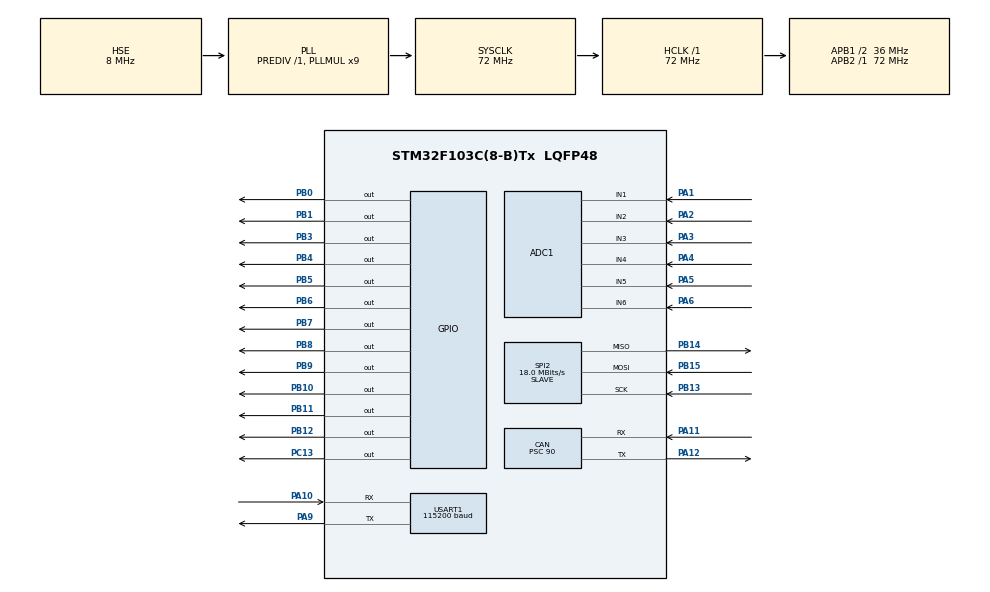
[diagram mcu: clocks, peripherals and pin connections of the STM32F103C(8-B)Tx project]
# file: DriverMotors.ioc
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Mcu.Family=STM32F1
PB10.PinState=GPIO_PIN_RESET
PB10.GPIO_Speed=GPIO_SPEED_FREQ_LOW
PB10.GPIO_PuPd=GPIO_PULLDOWN
SPI2.VirtualType=VM_SLAVE
ADC1.ContinuousConvMode=ENABLE
USART1.BaudRate=115200
SH.ADCx_IN2.0=ADC1_IN2,IN2
ADC1.SamplingTime-6\#ChannelRegularConversion=ADC_SAMPLETIME_71CYCLES_5
PB9.GPIO_ModeDefaultOutputPP=GPIO_MODE_OUTPUT_PP
PA11.Mode=Master
PB11.GPIO_PuPd=GPIO_PULLDOWN
PB11.Signal=GPIO_Output
PB13.Signal=SPI2_SCK
PB15.Signal=SPI2_MOSI
PB3.GPIO_Speed=GPIO_SPEED_FREQ_LOW
RCC.SYSCLKSource=RCC_SYSCLKSOURCE_PLLCLK
ProjectManager.StackSize=0x600
PD1-OSC_OUT.Signal=RCC_OSC_OUT
PB11.GPIO_Speed=GPIO_SPEED_FREQ_LOW
PB10.GPIO_ModeDefaultOutputPP=GPIO_MODE_OUTPUT_PP
PA12.Signal=CAN_TX
NVIC.USB_HP_CAN1_TX_IRQn=true\:0\:0\:false\:false\:true\:true\:true
CAN.Prescaler=90
ADC1.Channel-5\#ChannelRegularConversion=ADC_CHANNEL_5
PB0.PinState=GPIO_PIN_RESET
PB3.PinState=GPIO_PIN_RESET
ADC1.Channel-3\#ChannelRegularConversion=ADC_CHANNEL_3
PB1.GPIO_PuPd=GPIO_PULLDOWN
RCC.HCLKFreq_Value=72000000
SH.ADCx_IN3.0=ADC1_IN3,IN3
RCC.APB2TimFreq_Value=72000000
TIM3.Period=999
PB6.Signal=GPIO_Output
Dma.ADC1.0.Direction=DMA_PERIPH_TO_MEMORY
ADC1.Channel-2\#ChannelRegularConversion=ADC_CHANNEL_2
PB5.PinState=GPIO_PIN_RESET
Dma.ADC1.0.MemDataAlignment=DMA_MDATAALIGN_HALFWORD
RCC.AHBFreq_Value=72000000
RCC.PLLMUL=RCC_PLL_MUL9
ADC1.SamplingTime-4\#ChannelRegularConversion=ADC_SAMPLETIME_71CYCLES_5
ADC1.Channel-6\#ChannelRegularConversion=ADC_CHANNEL_6
PB3.GPIO_PuPd=GPIO_PULLDOWN
ADC1.Rank-2\#ChannelRegularConversion=2
PC14-OSC32_IN.Mode=LSE-External-Oscillator
PB1.GPIO_Speed=GPIO_SPEED_FREQ_LOW
PA14.Mode=Serial_Wire
PB14.Mode=Full_Duplex_Slave
TIM3.Prescaler=71
Dma.ADC1.0.PeriphInc=DMA_PINC_DISABLE
NVIC.TIM2_IRQn=true\:0\:0\:false\:false\:true\:true\:true
PB8.PinState=GPIO_PIN_RESET
SPI2.CalculateBaudRate=18.0 MBits/s
PB7.Signal=GPIO_Output
NVIC.SPI2_IRQn=true\:0\:0\:false\:false\:true\:true\:true
CAN.CalculateTimeQuantum=2500.0
PB7.PinState=GPIO_PIN_RESET
PB1.PinState=GPIO_PIN_RESET
Mcu.Package=LQFP48
PB9.Signal=GPIO_Output
TIM2.Prescaler=71
PB1.Signal=GPIO_Output
PA6.Signal=ADCx_IN6
SPI2.Mode=SPI_MODE_SLAVE
PC13-TAMPER-RTC.GPIO_PuPd=GPIO_PULLDOWN
PB6.GPIO_ModeDefaultOutputPP=GPIO_MODE_OUTPUT_PP
PA10.Signal=USART1_RX
PB9.GPIO_PuPd=GPIO_PULLDOWN
PB11.PinState=GPIO_PIN_RESET
PB8.GPIO_ModeDefaultOutputPP=GPIO_MODE_OUTPUT_PP
PB5.GPIO_Speed=GPIO_SPEED_FREQ_LOW
SH.ADCx_IN1.0=ADC1_IN1,IN1
PB9.GPIO_Speed=GPIO_SPEED_FREQ_LOW
RCC.APB1TimFreq_Value=72000000
PB0.GPIO_ModeDefaultOutputPP=GPIO_MODE_OUTPUT_PP
SPI2.Direction=SPI_DIRECTION_2LINES
PB13.Mode=Full_Duplex_Slave
NVIC.USART1_IRQn=true\:0\:0\:false\:false\:true\:true\:true
ADC1.Rank-6\#ChannelRegularConversion=6
Dma.Request0=ADC1
PB4.PinState=GPIO_PIN_RESET
VP_TIM3_VS_ClockSourceINT.Mode=Internal
ADC1.Rank-4\#ChannelRegularConversion=4
PB4.Signal=GPIO_Output
PB4.GPIO_ModeDefaultOutputPP=GPIO_MODE_OUTPUT_PP
PA3.Signal=ADCx_IN3
PB7.GPIO_Speed=GPIO_SPEED_FREQ_LOW
PB7.GPIO_PuPd=GPIO_PULLDOWN
RCC.PLLSourceVirtual=RCC_PLLSOURCE_HSE
PB5.GPIO_ModeDefaultOutputPP=GPIO_MODE_OUTPUT_PP
PC15-OSC32_OUT.Mode=LSE-External-Oscillator
Dma.ADC1.0.Instance=DMA1_Channel1
PD1-OSC_OUT.Mode=HSE-External-Oscillator
ADC1.Channel-4\#ChannelRegularConversion=ADC_CHANNEL_4
PA10.Mode=Asynchronous
SH.ADCx_IN6.0=ADC1_IN6,IN6
PB6.GPIO_PuPd=GPIO_PULLDOWN
PB8.GPIO_PuPd=GPIO_PULLDOWN
PC13-TAMPER-RTC.Signal=GPIO_Output
PD0-OSC_IN.Signal=RCC_OSC_IN
RCC.APB1CLKDivider=RCC_HCLK_DIV2
PC14-OSC32_IN.Signal=RCC_OSC32_IN
CAN.CalculateTimeBit=40000
ADC1.SamplingTime-2\#ChannelRegularConversion=ADC_SAMPLETIME_71CYCLES_5
PB0.GPIO_Speed=GPIO_SPEED_FREQ_LOW
RCC.ADCPresc=RCC_ADCPCLK2_DIV6
PA13.Signal=SYS_JTMS-SWDIO
Dma.ADC1.0.PeriphDataAlignment=DMA_PDATAALIGN_HALFWORD
PA9.Mode=Asynchronous
CAN.BS2=CAN_BS2_2TQ
CAN.BS1=CAN_BS1_13TQ
ProjectManager.TargetToolchain=EWARM V8
Dma.ADC1.0.Mode=DMA_CIRCULAR
Dma.ADC1.0.Priority=DMA_PRIORITY_MEDIUM
PA9.Signal=USART1_TX
ADC1.Channel-1\#ChannelRegularConversion=ADC_CHANNEL_1
PB4.GPIO_PuPd=GPIO_PULLDOWN
RCC.USBFreq_Value=72000000
CAN.Mode=CAN_MODE_NORMAL
PC15-OSC32_OUT.Signal=RCC_OSC32_OUT
PA1.Signal=ADCx_IN1
PB11.GPIO_ModeDefaultOutputPP=GPIO_MODE_OUTPUT_PP
PD0-OSC_IN.Mode=HSE-External-Oscillator
PB10.Signal=GPIO_Output
PB14.Signal=SPI2_MISO
PA5.Signal=ADCx_IN5
board=custom
PB15.Mode=Full_Duplex_Slave
NVIC.TIM3_IRQn=true\:0\:0\:false\:false\:true\:true\:true
PB4.GPIO_Speed=GPIO_SPEED_FREQ_LOW
RCC.APB2Freq_Value=72000000
VP_TIM2_VS_ClockSourceINT.Mode=Internal
PB7.GPIO_ModeDefaultOutputPP=GPIO_MODE_OUTPUT_PP
NVIC.USB_LP_CAN1_RX0_IRQn=true\:0\:0\:false\:false\:true\:true\:true
SH.ADCx_IN4.0=ADC1_IN4,IN4
TIM2.Period=9999
ADC1.NbrOfConversion=6
PA13.Mode=Serial_Wire
Mcu.Name=STM32F103C(8-B)Tx
PA2.Signal=ADCx_IN2
PB3.Signal=GPIO_Output
PA4.Signal=ADCx_IN4
ADC1.SamplingTime-1\#ChannelRegularConversion=ADC_SAMPLETIME_71CYCLES_5
RCC.SYSCLKFreq_VALUE=72000000
PB5.Signal=GPIO_Output
ADC1.master=1
PA12.Mode=Master
ADC1.Rank-3\#ChannelRegularConversion=3
ADC1.SamplingTime-3\#ChannelRegularConversion=ADC_SAMPLETIME_71CYCLES_5
PB5.GPIO_PuPd=GPIO_PULLDOWN
USART1.VirtualMode=VM_ASYNC
PB6.PinState=GPIO_PIN_RESET
PB9.PinState=GPIO_PIN_RESET
ADC1.Rank-1\#ChannelRegularConversion=1
PA11.Signal=CAN_RX
PA14.Signal=SYS_JTCK-SWCLK
Dma.ADC1.0.MemInc=DMA_MINC_ENABLE
ProjectManager.HeapSize=0x400
ADC1.SamplingTime-5\#ChannelRegularConversion=ADC_SAMPLETIME_71CYCLES_5
SH.ADCx_IN5.0=ADC1_IN5,IN5
NVIC.PriorityGroup=NVIC_PRIORITYGROUP_4
ADC1.NbrOfConversionFlag=1
PB8.Signal=GPIO_Output
NVIC.DMA1_Channel1_IRQn=true\:0\:0\:false\:false\:true\:false\:true
PB1.GPIO_ModeDefaultOutputPP=GPIO_MODE_OUTPUT_PP
PB6.GPIO_Speed=GPIO_SPEED_FREQ_LOW
PB12.GPIO_PuPd=GPIO_PULLDOWN
RCC.APB1Freq_Value=36000000
PB8.GPIO_Speed=GPIO_SPEED_FREQ_LOW
PB0.Signal=GPIO_Output
ADC1.Rank-5\#ChannelRegularConversion=5
PB12.Signal=GPIO_Output
PB0.GPIO_PuPd=GPIO_PULLDOWN
PB3.GPIO_ModeDefaultOutputPP=GPIO_MODE_OUTPUT_PP

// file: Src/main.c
/* USER CODE BEGIN Header */
/**
******************************************************************************
* @file           : main.c
* @brief          : Main program body
******************************************************************************
* @attention
*
* <h2><center>&copy; Copyright (c) 2019 STMicroelectronics.
* All rights reserved.</center></h2>
*
* This software component is licensed by ST under BSD 3-Clause license,
* the "License"; You may not use this file except in compliance with the
* License. You may obtain a copy of the License at:
*                        opensource.org/licenses/BSD-3-Clause
*
******************************************************************************
*/
/* USER CODE END Header */
#include "main.h"
#include "adc.h"
#include "can.h"
#include "dma.h"
#include "spi.h"
#include "tim.h"
#include "usart.h"
#include "gpio.h"

/* USER CODE BEGIN Includes */
#include "string.h"
#include "stdbool.h"
#include <stdio.h>
#include <stdlib.h>
/* USER CODE END Includes */

/* USER CODE BEGIN PTD */

/* Текущее состояние работы драйвера линейных двигателей. */
enum TypeWork {
  /* Режим инициализации. В данном режиме происходит
  расчет минимальных и максимальных положений кисти и пальцев протеза. */
  InitializationMode,

  /* Режим ожидания. Механические действия не исполняются. */
  SleepMode,

  /* Режим установки новых положений. */
  SettingPositionMode,

  /* Режим ошибки. Работа невозможна. */
  ErrorMode
};

/* Команды, которые протез может принимать по протоколу */
enum ProtocolCommand {
  /* Телеметрия устройства. Протез возвращает позиции пальцев. */
  Telemetry,

  /* Запрос установки позиций протеза. */
  SetPositions
};

/* Структура для работы с движущимися частями протеза (пальцами и кистью).
* Хранит информацию о расчетах энкордера и физическом подключении протеза.
*/
typedef struct {
  /* Текущая позиция пальца в угловом соотношении. */
  uint8_t Position;

  /* Ожидаемая позиция пальца в угловом соотношении. */
  uint8_t RequiredPosition;

  /* Минимальное значение потенциометра после колибровки. */
  uint16_t MinADCValue;

  /* Максимальное значение потенциометра после колибровки. */
  uint16_t MaxADCValue;

  /* Значение потенциометра. */
  uint16_t* ADCValue;

  /* Структура GPIO к которой подключен вывод мотора для движения вперед
  (Движение вперед - при подаче логической единицы на этот пин мотор будет
  разжимать палец). */
  GPIO_TypeDef* GPIO_MotorForward;

  /* Номер пина к которому подключен вывод мотора для движения вперед. */
  uint16_t GPIO_Motor_PinForward;

  /* Структура GPIO к которой подключен вывод мотора для движения назад
  (Движение назад - при подаче логической единицы на этот пин мотор будет
  сжимать палец). */
  GPIO_TypeDef* GPIO_MotorBackward;

  /* Номер пина к которому подключен вывод мотора для движения назад. */
  uint16_t GPIO_Motor_PinBackward;
} FingerStruct;

/* Позиции всех движущихся частей протеза.*/
typedef struct {
  enum TypeWork CurrentRegime;
  FingerStruct* PointerFinger;
  FingerStruct* MiddleFinger;
  FingerStruct* RingFinder;
  FingerStruct* LittleFinger;
  FingerStruct* ThumbFinger;
  FingerStruct* ThumbFingerFlexion;
} HandStruct;

typedef struct {
  enum ProtocolCommand Command;
  enum TypeWork CurrentRegime;
  uint8_t PointerFingerPosition;
  uint8_t MiddleFingerPosition;
  uint8_t RingFinderPosition;
  uint8_t LittleFingerPosition;
  uint8_t ThumbFingerPosition;
  uint8_t CRC8;
} ProtocolStruct;
/* USER CODE END PTD */

/* USER CODE BEGIN PV */
unsigned char CRC8_TABLE[] = {
  0, 94, 188, 226, 97, 63, 221, 131, 194, 156, 126, 32, 163, 253, 31, 65,
  157, 195, 33, 127, 252, 162, 64, 30, 95, 1, 227, 189, 62, 96, 130, 220,
  35, 125, 159, 193, 66, 28, 254, 160, 225, 191, 93, 3, 128, 222, 60, 98,
  190, 224, 2, 92, 223, 129, 99, 61, 124, 34, 192, 158, 29, 67, 161, 255,
  70, 24, 250, 164, 39, 121, 155, 197, 132, 218, 56, 102, 229, 187, 89, 7,
  219, 133, 103, 57, 186, 228, 6, 88, 25, 71, 165, 251, 120, 38, 196, 154,
  101, 59, 217, 135, 4, 90, 184, 230, 167, 249, 27, 69, 198, 152, 122, 36,
  248, 166, 68, 26, 153, 199, 37, 123, 58, 100, 134, 216, 91, 5, 231, 185,
  140, 210, 48, 110, 237, 179, 81, 15, 78, 16, 242, 172, 47, 113, 147, 205,
  17, 79, 173, 243, 112, 46, 204, 146, 211, 141, 111, 49, 178, 236, 14, 80,
  175, 241, 19, 77, 206, 144, 114, 44, 109, 51, 209, 143, 12, 82, 176, 238,
  50, 108, 142, 208, 83, 13, 239, 177, 240, 174, 76, 18, 145, 207, 45, 115,
  202, 148, 118, 40, 171, 245, 23, 73, 8, 86, 180, 234, 105, 55, 213, 139,
  87, 9, 235, 181, 54, 104, 138, 212, 149, 203, 41, 119, 244, 170, 72, 22,
  233, 183, 85, 11, 136, 214, 52, 106, 43, 117, 151, 201, 74, 20, 246, 168,
  116, 42, 200, 150, 21, 75, 169, 247, 182, 232, 10, 84, 215, 137, 107, 53
};

/* Основные переменные */

/* Основная конфигурация протеза для осуществления движений.
 * На ее основе работает вся прошивка МК. */
HandStruct* HandConfig;

/* CAN BUS PV Variables */
CAN_FilterTypeDef sFilterConfig;
CAN_TxHeaderTypeDef TxHeader;
CAN_RxHeaderTypeDef RxHeader;
uint8_t TxData[8];
uint8_t RxData[8];
uint32_t TxMailbox;

/* UART PV Variables */
uint32_t uartLastReceiveTimeMs;
uint8_t uartPositionProtocol;

/* ADC PV Variables */
volatile uint16_t ADC_Data[6];

/* UART data receive */
ProtocolStruct request;

/* USER CODE END PV */

void SystemClock_Config(void);

/* USER CODE BEGIN 0 */

/* Объявление функций. */

/**
* @brief Выполняет инициализацию конфигурации протеза.
* Устанавливает пины, к которым подключены моторы пальцев.
* @retval Структура, в которой содержится конфигурация протеза.
*/
HandStruct* Hand_Init();

/**
* @brief  Выполнение колибровки указанного пальца.
* @param  finger Структура, с набором характеристик пальца.
*/
void CalibrateFinger(FingerStruct* finger);

/**
* @brief Выполняет инициализацию конфигурации отдельного пальца. Выполняет
*       установку конфигурации пина в соотвесвтующие поля структуры.
* @param  motorForward Структура GPIO к которой подключен вывод мотора для движения вперед.
*       (Движение вперед - при подаче логической единицы на этот пин мотор будет разжимать палец).
* @param  pinForward Номер пина к которому подключен вывод мотора для движения вперед.
* @param  motorBackward Структура GPIO к которой подключен вывод мотора для движения назад.
*       (Движение назад - при подаче логической единицы на этот пин мотор будет сжимать палец).
* @param  pinBackward Номер пина к которому подключен вывод мотора для движения вперед.
* @param  ADCValue Указатель на значение АЦП.
* @retval Структура, в которой содержится конфигурация отдельного пальца.
*/
FingerStruct* Finger_Init(GPIO_TypeDef *motorForward, uint16_t pinForward, GPIO_TypeDef *motorBackward, uint16_t pinBackward, uint16_t* ADCValue);

/**
* @brief Выполняет инициализацию конфигурации отдельного пальца.
* @retval None
*/
void SendTelemetryByCAN();

/**
  * @brief  CRC8 calculate function
  * @param  data Pointer to data
  * @param  data length
  * @retval crc8
*/
unsigned char CalculateCRC8(unsigned char *data, unsigned int length);

/* Реализация функций. */

void SendTelemetryByCAN(HandStruct* handConfig)
{
  TxData[0] = handConfig->CurrentRegime;
  TxData[1] = handConfig->PointerFinger->Position;
  TxData[2] = handConfig->MiddleFinger->Position;
  TxData[3] = handConfig->RingFinder->Position;
  TxData[4] = handConfig->LittleFinger->Position;
  TxData[5] = handConfig->ThumbFinger->Position;
  HAL_CAN_AddTxMessage(&hcan, &TxHeader, TxData, &TxMailbox);
}

HandStruct* Hand_Init()
{
  HandStruct* newHandConfig = (HandStruct*)malloc(sizeof(HandStruct));
  memset(newHandConfig, 0, sizeof(HandStruct));

  // MOTOR 1
  newHandConfig->LittleFinger = Finger_Init(GPIOB, GPIO_PIN_10,
                                             GPIOB, GPIO_PIN_11, (uint16_t*)&ADC_Data[6]);
  // MOTOR 2
  newHandConfig->RingFinder = Finger_Init(GPIOB, GPIO_PIN_0,
                                             GPIOB, GPIO_PIN_1, (uint16_t*)&ADC_Data[5]);
  // MOTOR 3
  newHandConfig->MiddleFinger = Finger_Init(GPIOB, GPIO_PIN_3,
                                             GPIOB, GPIO_PIN_12, (uint16_t*)&ADC_Data[4]);
  // MOTOR 4
  newHandConfig->PointerFinger = Finger_Init(GPIOB, GPIO_PIN_5,
                                             GPIOB, GPIO_PIN_4, (uint16_t*)&ADC_Data[3]);
  // MOTOR 5
  newHandConfig->ThumbFinger = Finger_Init(GPIOB, GPIO_PIN_6,
                                             GPIOB, GPIO_PIN_7, (uint16_t*)&ADC_Data[2]);
  // MOTOR 6
  newHandConfig->ThumbFingerFlexion = Finger_Init(GPIOB, GPIO_PIN_8,
                                             GPIOB, GPIO_PIN_9, (uint16_t*)&ADC_Data[1]);

  return newHandConfig;
}

FingerStruct* Finger_Init(GPIO_TypeDef *motorForward, uint16_t pinForward, GPIO_TypeDef *motorBackward, uint16_t pinBackward, uint16_t* ADCValue)
{
  FingerStruct* configFinger = (FingerStruct*)malloc(sizeof(FingerStruct));
  memset(configFinger, 0, sizeof(FingerStruct));

  configFinger->GPIO_MotorForward = motorForward;
  configFinger->GPIO_Motor_PinForward = pinForward;
  configFinger->GPIO_MotorBackward = motorBackward;
  configFinger->GPIO_Motor_PinBackward = pinBackward;
  configFinger->ADCValue = ADCValue;

  return configFinger;
}

/**
* @brief  Остановка движения мотора.
*/
void Finger_Stop(FingerStruct* finger)
{
  HAL_GPIO_WritePin(finger->GPIO_MotorForward, finger->GPIO_Motor_PinForward, GPIO_PIN_RESET);
  HAL_GPIO_WritePin(finger->GPIO_MotorBackward, finger->GPIO_Motor_PinBackward, GPIO_PIN_RESET);
}

/**
* @brief  Движение мотора вперед (сжатие).
*/
void Finger_Forward(FingerStruct* finger)
{
  HAL_GPIO_WritePin(finger->GPIO_MotorForward, finger->GPIO_Motor_PinForward, GPIO_PIN_SET);
  HAL_GPIO_WritePin(finger->GPIO_MotorBackward, finger->GPIO_Motor_PinBackward, GPIO_PIN_RESET);
}

/**
* @brief  Движение мотора назад (разжатие).
*/
void Finger_Backward(FingerStruct* finger)
{
  HAL_GPIO_WritePin(finger->GPIO_MotorForward, finger->GPIO_Motor_PinForward, GPIO_PIN_RESET);
  HAL_GPIO_WritePin(finger->GPIO_MotorBackward, finger->GPIO_Motor_PinBackward, GPIO_PIN_SET);
}

/**
* @brief  Выполняет установку положения пальца в указанною позицию.
* @param  finger Структура, с набором характеристик пальца.
*/
void Set_Finger_Position(FingerStruct* finger)
{ //0 - разжато, 180 - сжато
  uint16_t angle = finger->RequiredPosition - finger->Position;
  uint16_t reqPosition = abs(angle) * ((finger->MaxADCValue - finger->MinADCValue) / 180);

  if (angle > 0) {
    //Сжать руку на angle градусов
    Finger_Forward(finger);
    while(true) {
      if (*finger->ADCValue <= reqPosition) {
        Finger_Stop(finger);

        break;
      }
    }
  } else {
    //Разжать руку на angle градусов
    Finger_Backward(finger);
    while(true) {
      if (*finger->ADCValue >= reqPosition) {
        Finger_Stop(finger);

        break;
      }
    }
  }

  finger->Position = finger->RequiredPosition;
}

/**
* @brief  Выполняет установку положения пальца в указанною позицию.
* @param  hand Структура, с набором характеристик руки.
*/
/*
void Set_Hand_Position(HandStruct* hand)
{
  uint16_t LittleFingerAngle = hand->LittleFinger->RequiredPosition - hand->LittleFinger->Position;
  uint16_t RingFinderAngle = hand->RingFinder->RequiredPosition - hand->RingFinder->Position;
  uint16_t MiddleFingerAngle = hand->MiddleFinger->RequiredPosition - hand->MiddleFinger->Position;
  uint16_t PointerFingerAngle = hand->PointerFinger->RequiredPosition - hand->PointerFinger->Position;
  uint16_t ThumbFingerFlexionAngle = hand->ThumbFingerFlexion->RequiredPosition - hand->ThumbFingerFlexion->Position;
  uint16_t ThumbFingerAngle = hand->ThumbFinger->RequiredPosition - hand->ThumbFinger->Position;

  uint16_t LittleFingerReqPosition = abs(LittleFingerAngle) * ((hand->LittleFinger->MaxADCValue - hand->LittleFinger->MinADCValue) / 180);
  uint16_t RingFinderReqPosition = abs(RingFinderAngle) * ((hand->RingFinder->MaxADCValue - hand->RingFinder->MinADCValue) / 180);
  uint16_t MiddleFingerReqPosition = abs(MiddleFingerAngle) * ((hand->MiddleFinger->MaxADCValue - hand->MiddleFinger->MinADCValue) / 180);
  uint16_t PointerFingerReqPosition = abs(PointerFingerAngle) * ((hand->PointerFinger->MaxADCValue - hand->PointerFinger->MinADCValue) / 180);
  uint16_t ThumbFingerFlexionReqPosition = abs(ThumbFingerFlexionAngle) * ((hand->ThumbFingerFlexion->MaxADCValue - hand->ThumbFingerFlexion->MinADCValue) / 180);
  uint16_t ThumbFingerReqPosition = abs(ThumbFingerAngle) * ((hand->ThumbFinger->MaxADCValue - hand->ThumbFinger->MinADCValue) / 180);

  bool LittleFingerSeted = false;
  bool RingFinderSeted = false;
  bool MiddleFingerSeted = false;
  bool PointerFingerSeted = false;
  bool ThumbFingerFlexionSeted = false;
  bool RequiredPositionSeted = false;

}
*/

/**
* @brief  Выполнение колибровки руки.
* @param  hand Структура, с набором характеристик руки.
*/
void Calibrate(HandStruct* hand)
{
  CalibrateFinger(hand->LittleFinger);
  CalibrateFinger(hand->RingFinder);
  CalibrateFinger(hand->MiddleFinger);

  uint16_t PointerFingerADCMaxPosition = *(hand->PointerFinger->ADCValue);
  uint16_t ThumbFingerADCMaxPosition = *(hand->ThumbFinger->ADCValue);
  uint16_t ThumbFingerFlexionADCMaxPosition = *(hand->ThumbFingerFlexion->ADCValue);

  uint16_t PointerFingerADCMinPosition;
  uint16_t ThumbFingerADCMinPosition;
  uint16_t ThumbFingerFlexionADCMinPosition;

  uint32_t receiveTimeMs = HAL_GetTick();

  Finger_Backward(hand->PointerFinger);
  Finger_Backward(hand->ThumbFinger);
  Finger_Backward(hand->ThumbFingerFlexion);

  bool PointerFingerCalibrated = false;
  bool ThumbFingerCalibrated = false;
  bool ThumbFingerFlexionCalibrated = false;

  uint8_t ConfirmPointerFinger = 100;
  uint8_t ConfirmThumbFinger = 100;
  uint8_t ConfirmThumbFingerFlexion = 100;

  //Установка максимальных значений при разжатии пальцев (значениея малы ~100-200)
  while(true) {
    uint32_t tmpTimeMs = HAL_GetTick();

    if (receiveTimeMs + 4000 < tmpTimeMs)
    {
      receiveTimeMs = tmpTimeMs;

      if (PointerFingerCalibrated && ThumbFingerFlexionCalibrated && ThumbFingerCalibrated) {
        break;
      }

      if (!PointerFingerCalibrated) {
        if (ConfirmPointerFinger < 1) {
          PointerFingerADCMaxPosition = *(hand->PointerFinger->ADCValue);
          Finger_Stop(hand->PointerFinger);
          PointerFingerCalibrated = true;
          ConfirmPointerFinger = 100;
        }

        if (*(hand->PointerFinger->ADCValue) + 150 < PointerFingerADCMaxPosition) {
          PointerFingerADCMaxPosition = *(hand->PointerFinger->ADCValue);
        } else {
          ConfirmPointerFinger--;
        }
      }

      if (!ThumbFingerCalibrated) {
        if (ConfirmThumbFinger < 1) {
          ThumbFingerADCMaxPosition = *(hand->ThumbFinger->ADCValue);
          Finger_Stop(hand->ThumbFinger);
          ThumbFingerCalibrated = true;
          ConfirmThumbFinger = 100;
        }

        if (*(hand->ThumbFinger->ADCValue) + 150 < ThumbFingerADCMaxPosition) {
          ThumbFingerADCMaxPosition = *(hand->ThumbFinger->ADCValue);
        } else {
          ConfirmThumbFinger--;
        }
      }

      if (!ThumbFingerFlexionCalibrated) {
        if (ConfirmThumbFingerFlexion < 1) {
          ThumbFingerFlexionADCMaxPosition = *(hand->ThumbFingerFlexion->ADCValue);
          Finger_Stop(hand->ThumbFingerFlexion);
          ThumbFingerFlexionCalibrated = true;
          ConfirmThumbFingerFlexion = 100;
        }

        if (*(hand->ThumbFingerFlexion->ADCValue) + 150 < ThumbFingerFlexionADCMaxPosition) {
          ThumbFingerFlexionADCMaxPosition = *(hand->ThumbFingerFlexion->ADCValue);
        } else {
          ConfirmThumbFingerFlexion--;
        }
      }
    }
  }

  PointerFingerADCMinPosition = PointerFingerADCMaxPosition;
  ThumbFingerADCMinPosition = ThumbFingerADCMaxPosition;
  ThumbFingerFlexionADCMinPosition = ThumbFingerFlexionADCMaxPosition;

  Finger_Forward(hand->ThumbFinger);

  while(true) {
    uint32_t tmpTimeMs = HAL_GetTick();

    if (receiveTimeMs + 4000 < tmpTimeMs)
    {
      receiveTimeMs = tmpTimeMs;

      if (ConfirmThumbFinger < 1) {
        ThumbFingerADCMinPosition = *(hand->ThumbFinger->ADCValue);
        Finger_Stop(hand->ThumbFinger);

        break;
      }

      if (*(hand->ThumbFinger->ADCValue) - 150 > ThumbFingerADCMinPosition) {
        ThumbFingerADCMinPosition = *(hand->ThumbFinger->ADCValue);
      } else {
        ConfirmThumbFinger--;
      }
    }
  }

  hand->ThumbFinger->MaxADCValue = ThumbFingerADCMaxPosition - 150;
  hand->ThumbFinger->MinADCValue = ThumbFingerADCMinPosition + 150;
  hand->ThumbFinger->Position = 180;
  hand->ThumbFinger->RequiredPosition = 0;
  Set_Finger_Position(hand->ThumbFinger);

  Finger_Forward(hand->ThumbFingerFlexion);

  while(true) {
    uint32_t tmpTimeMs = HAL_GetTick();

    if (receiveTimeMs + 4000 < tmpTimeMs)
    {
      receiveTimeMs = tmpTimeMs;

      if (ConfirmThumbFingerFlexion < 1) {
        ThumbFingerFlexionADCMinPosition = *(hand->ThumbFingerFlexion->ADCValue);
        Finger_Stop(hand->ThumbFingerFlexion);

        break;
      }

      if (*(hand->ThumbFingerFlexion->ADCValue) - 150 > ThumbFingerFlexionADCMinPosition) {
        ThumbFingerFlexionADCMinPosition = *(hand->ThumbFingerFlexion->ADCValue);
      } else {
        ConfirmThumbFingerFlexion--;
      }
    }
  }

  hand->ThumbFingerFlexion->MaxADCValue = ThumbFingerFlexionADCMaxPosition - 150;
  hand->ThumbFingerFlexion->MinADCValue = ThumbFingerFlexionADCMinPosition + 150;
  hand->ThumbFingerFlexion->Position = 180;
  hand->ThumbFingerFlexion->RequiredPosition = 0;
  Set_Finger_Position(hand->ThumbFingerFlexion);

  Finger_Forward(hand->PointerFinger);

  while(true) {
    uint32_t tmpTimeMs = HAL_GetTick();

    if (receiveTimeMs + 4000 < tmpTimeMs)
    {
      receiveTimeMs = tmpTimeMs;

      if (ConfirmPointerFinger < 1) {
        PointerFingerADCMinPosition = *(hand->PointerFinger->ADCValue);
        Finger_Stop(hand->PointerFinger);

        break;
      }

      if (*(hand->PointerFinger->ADCValue) - 150 > PointerFingerADCMinPosition) {
        PointerFingerADCMinPosition = *(hand->PointerFinger->ADCValue);
      } else {
        ConfirmPointerFinger--;
      }
    }
  }

  hand->PointerFinger->MaxADCValue = PointerFingerADCMaxPosition - 150;
  hand->PointerFinger->MinADCValue = PointerFingerADCMinPosition + 150;
  hand->PointerFinger->Position = 180;
  hand->PointerFinger->RequiredPosition = 180;
}

void CalibrateFinger(FingerStruct* finger)
{
  uint8_t Confirm = 100;
  uint16_t FingerADCMaxPosition = *(finger->ADCValue);  //Максимальное значение с потенциометра
  uint16_t FingerADCMinPosition;                        //Минимальное значение с потенциометра

  uint32_t receiveTimeMs = HAL_GetTick();

  Finger_Backward(finger);

  //Установка максимального значения при разжатии пальца (значение мало ~100-200)
  while(true) {
    uint32_t tmpTimeMs = HAL_GetTick();

    if (receiveTimeMs + 4000 < tmpTimeMs)
    {
      receiveTimeMs = tmpTimeMs;

      if (Confirm < 1) {
        FingerADCMaxPosition = *(finger->ADCValue);
        Finger_Stop(finger);
        Confirm = 100;

        break;
      }

      if (*(finger->ADCValue) + 150 < FingerADCMaxPosition) {
        FingerADCMaxPosition = *(finger->ADCValue);
      } else {
        Confirm--;
      }
    }
  }

  FingerADCMinPosition = FingerADCMaxPosition;
  Finger_Forward(finger);

  //Установка минимального значений при сжатии пальца (значение велико ~3700-4000)
  while(true) {
    uint32_t tmpTimeMs = HAL_GetTick();

    if (receiveTimeMs + 4000 < tmpTimeMs)
    {
      receiveTimeMs = tmpTimeMs;

      if (Confirm < 1) {
        FingerADCMinPosition = *(finger->ADCValue);
        Finger_Stop(finger);

        break;
      }

      if (*(finger->ADCValue) - 150 > FingerADCMinPosition) {
        FingerADCMinPosition = *(finger->ADCValue);
      } else {
        Confirm--;
      }
    }
  }

  finger->MaxADCValue = FingerADCMaxPosition - 150;
  finger->MinADCValue = FingerADCMinPosition + 150;

  finger->Position = 180;
  finger->RequiredPosition = 180;
}

/**
* @brief Выполняет необходимую программную иницилизацию CAN и
* переменных для работы с ней.
* @retval None
*/
void CAN_Init()
{
  sFilterConfig.FilterBank = 0;
  sFilterConfig.FilterMode = CAN_FILTERMODE_IDMASK;
  sFilterConfig.FilterScale = CAN_FILTERSCALE_32BIT;
  sFilterConfig.FilterIdHigh = 0X0000;
  sFilterConfig.FilterIdLow = 0x0000;
  sFilterConfig.FilterMaskIdHigh = 0x0000;
  sFilterConfig.FilterMaskIdLow = 0x0000;
  sFilterConfig.FilterFIFOAssignment = CAN_RX_FIFO0;
  sFilterConfig.FilterActivation = ENABLE;
  sFilterConfig.SlaveStartFilterBank = 14;

  if (HAL_CAN_ConfigFilter(&hcan, &sFilterConfig) != HAL_OK)
  {
    Error_Handler();
  }

  if (HAL_CAN_Start(&hcan) != HAL_OK)
  {
    Error_Handler();
  }

  if (HAL_CAN_ActivateNotification (&hcan, CAN_IT_RX_FIFO0_MSG_PENDING | CAN_IT_TX_MAILBOX_EMPTY) != HAL_OK)
  {
    Error_Handler();
  }

  TxHeader.StdId = 0x3E9;
  TxHeader.ExtId = 0x01;
  TxHeader.RTR = CAN_RTR_DATA;
  TxHeader.IDE = CAN_ID_STD;
  TxHeader.TransmitGlobalTime = DISABLE;
  TxHeader.DLC = 8;
  TxData[0] = 0;
  TxData[1] = 0;
  TxData[2] = 0;
  TxData[3] = 0;
  TxData[4] = 0;
  TxData[5] = 0;
  TxData[6] = 0;
  TxData[7] = 0;
}

unsigned char CalculateCRC8(unsigned char *data, unsigned int length)
{
  unsigned char result = 0;
  for (int i = 0; i < length; i++)
  {
    result = CRC8_TABLE[result ^ data[i]];
  }

  return result;
}
/* USER CODE END 0 */

int main(void)
{

  /* MCU Configuration--------------------------------------------------------*/

  /* Reset of all peripherals, Initializes the Flash interface and the Systick. */
  HAL_Init();

  /* Configure the system clock */
  SystemClock_Config();

  /* Initialize all configured peripherals */
  MX_GPIO_Init();
  MX_DMA_Init();
  MX_ADC1_Init();
  MX_CAN_Init();
  MX_TIM2_Init();
  MX_USART1_UART_Init();
  MX_SPI2_Init();
  MX_TIM3_Init();
  /* USER CODE BEGIN 2 */

  HandConfig = Hand_Init();

  HAL_ADC_Start_DMA(&hadc1,(uint32_t*) &ADC_Data,6);
  // HAL_ADC_Stop_DMA(&hadc1);

  CAN_Init();
  //HAL_TIM_Base_Start_IT(&htim2);
  //HAL_TIM_Base_Start_IT(&htim3);

  uartLastReceiveTimeMs = 0;

  HAL_UART_Receive_IT(&huart1, ((uint8_t*)&request), 1);

  //HAL_GPIO_WritePin(GPIOB, GPIO_PIN_0, GPIO_PIN_SET);
  //HAL_GPIO_WritePin(GPIOB, GPIO_PIN_1, GPIO_PIN_SET);
  HandConfig->CurrentRegime = InitializationMode;

  HAL_GPIO_WritePin(GPIOC, GPIO_PIN_13, GPIO_PIN_SET);
  //Calibrate(HandConfig);

  HandConfig->CurrentRegime = SleepMode;

  /* USER CODE END 2 */

  /* Infinite loop */
  /* USER CODE BEGIN WHILE */
  while (1)
  {

    Finger_Forward(HandConfig->LittleFinger);
    Finger_Forward(HandConfig->MiddleFinger);
    Finger_Forward(HandConfig->PointerFinger);
    Finger_Forward(HandConfig->RingFinder);
    Finger_Forward(HandConfig->ThumbFinger);
    HAL_Delay(2000);
    Finger_Backward(HandConfig->LittleFinger);
    Finger_Backward(HandConfig->MiddleFinger);
    Finger_Backward(HandConfig->PointerFinger);
    Finger_Backward(HandConfig->RingFinder);
    Finger_Backward(HandConfig->ThumbFinger);
    HAL_Delay(2000);
    Finger_Stop(HandConfig->LittleFinger);
    Finger_Stop(HandConfig->MiddleFinger);
    Finger_Stop(HandConfig->PointerFinger);
    Finger_Stop(HandConfig->RingFinder);
    Finger_Stop(HandConfig->ThumbFinger);
    HAL_Delay(2000);

    //for(int i=0;i<6;i++)
    //{
      //float u;
      //char str[9];
      //u =((float)ADC_Data[i])*3/4096;//занесём результат преобразований в переменную
      //sprintf(str,"%.2fv",u);//преобразуем результат в строку
      //sprintf(str, "%d", ADC_Data[i]);//преобразуем результат в строку

      //UART_Transmit_Text(str);
      //UART_Transmit_Text("\n");
      //break;
      // UART_Transmit_Text(" ");
    //}

    //HAL_CAN_AddTxMessage(&hcan, &TxHeader, TxData, &TxMailbox);
    /* USER CODE END WHILE */

  }
}

void SystemClock_Config(void)
{
  RCC_OscInitTypeDef RCC_OscInitStruct = {0};
  RCC_ClkInitTypeDef RCC_ClkInitStruct = {0};
  RCC_PeriphCLKInitTypeDef PeriphClkInit = {0};

  /** Initializes the RCC Oscillators according to the specified parameters
  * in the RCC_OscInitTypeDef structure.
  */
  RCC_OscInitStruct.OscillatorType = RCC_OSCILLATORTYPE_HSE;
  RCC_OscInitStruct.HSEState = RCC_HSE_ON;
  RCC_OscInitStruct.HSEPredivValue = RCC_HSE_PREDIV_DIV1;
  RCC_OscInitStruct.HSIState = RCC_HSI_ON;
  RCC_OscInitStruct.PLL.PLLState = RCC_PLL_ON;
  RCC_OscInitStruct.PLL.PLLSource = RCC_PLLSOURCE_HSE;
  RCC_OscInitStruct.PLL.PLLMUL = RCC_PLL_MUL9;
  if (HAL_RCC_OscConfig(&RCC_OscInitStruct) != HAL_OK)
  {
    Error_Handler();
  }
  /** Initializes the CPU, AHB and APB buses clocks
  */
  RCC_ClkInitStruct.ClockType = RCC_CLOCKTYPE_HCLK|RCC_CLOCKTYPE_SYSCLK
                              |RCC_CLOCKTYPE_PCLK1|RCC_CLOCKTYPE_PCLK2;
  RCC_ClkInitStruct.SYSCLKSource = RCC_SYSCLKSOURCE_PLLCLK;
  RCC_ClkInitStruct.AHBCLKDivider = RCC_SYSCLK_DIV1;
  RCC_ClkInitStruct.APB1CLKDivider = RCC_HCLK_DIV2;
  RCC_ClkInitStruct.APB2CLKDivider = RCC_HCLK_DIV1;

  if (HAL_RCC_ClockConfig(&RCC_ClkInitStruct, FLASH_LATENCY_2) != HAL_OK)
  {
    Error_Handler();
  }
  PeriphClkInit.PeriphClockSelection = RCC_PERIPHCLK_ADC;
  PeriphClkInit.AdcClockSelection = RCC_ADCPCLK2_DIV6;
  if (HAL_RCCEx_PeriphCLKConfig(&PeriphClkInit) != HAL_OK)
  {
    Error_Handler();
  }
}

/* USER CODE BEGIN 4 */
void HAL_TIM_PeriodElapsedCallback(TIM_HandleTypeDef *htim)
{
  char text[20];
  sprintf(text, "%d,%d\n", HAL_GetTick(), ADC_Data[0]);
  HAL_UART_Transmit(&huart1, (uint8_t*)text, strlen(text), 0xFFFF);
}

void HAL_UART_RxCpltCallback(UART_HandleTypeDef *huart) {

  uint32_t receiveTimeMs = HAL_GetTick();

  if (uartPositionProtocol != 0 && abs(receiveTimeMs - uartLastReceiveTimeMs) > 500)
  {
    uartLastReceiveTimeMs = receiveTimeMs;
    request.Command = (enum ProtocolCommand)(*(((uint8_t*)&request) + uartPositionProtocol));
    uartPositionProtocol = 1;
    HAL_UART_Receive_IT(&huart1, ((uint8_t*)((uint8_t*)(&request) + uartPositionProtocol)), 1);
    return;
  }

  uartLastReceiveTimeMs = receiveTimeMs;

  if (uartPositionProtocol == 7)
  {
    uartPositionProtocol = 0;
    unsigned char realCRC8 = CalculateCRC8(((unsigned char*)&request), 7);
    if (false && realCRC8 != request.CRC8)
    {
      // Ожидаем следующие 8 байт и обнуляем позицию
      HAL_UART_Receive_IT(&huart1, ((uint8_t*)&request), 1);
      return;
    }

    // Если это команда установки, то обновляем требуемые позиции.
    if (request.Command == SetPositions) {
      HandConfig->LittleFinger->RequiredPosition = request.LittleFingerPosition;
      HandConfig->MiddleFinger->RequiredPosition = request.MiddleFingerPosition;
      HandConfig->PointerFinger->RequiredPosition = request.PointerFingerPosition;
      HandConfig->RingFinder->RequiredPosition = request.RingFinderPosition;
      HandConfig->ThumbFinger->RequiredPosition = request.ThumbFingerPosition;
    }

    // Отправляем телеметрию на каждый запрос в любом случае.
    ProtocolStruct response;
    response.Command = Telemetry;
    response.CurrentRegime = HandConfig->CurrentRegime;
    response.LittleFingerPosition = HandConfig->LittleFinger->Position;
    response.MiddleFingerPosition = HandConfig->MiddleFinger->Position;
    response.PointerFingerPosition = HandConfig->PointerFinger->Position;
    response.RingFinderPosition = HandConfig->RingFinder->Position;
    response.ThumbFingerPosition = HandConfig->ThumbFinger->Position;
    response.CRC8 = CalculateCRC8(((unsigned char*)&response), 7);
    HAL_UART_Transmit(&huart1, ((uint8_t*)&response), 8, 0xFFFF);
  }
  else
  {
    uartPositionProtocol++;
  }

  // Ожидаем следующие 8 байт
  HAL_UART_Receive_IT(&huart1, ((uint8_t*)((uint8_t*)(&request) + uartPositionProtocol)), 1);
}

void CAN_HandlePackage(uint8_t* dataPackage)
{
  if (dataPackage[0] == 0x04)
  {
    // Запрос установки новых положений.
  }
}
/* USER CODE END 4 */

void Error_Handler(void)
{
  /* USER CODE BEGIN Error_Handler_Debug */
  /* User can add his own implementation to report the HAL error return state */
  HandConfig->CurrentRegime = ErrorMode;
  /* USER CODE END Error_Handler_Debug */
}

/************************ (C) COPYRIGHT STMicroelectronics *****END OF FILE****/
